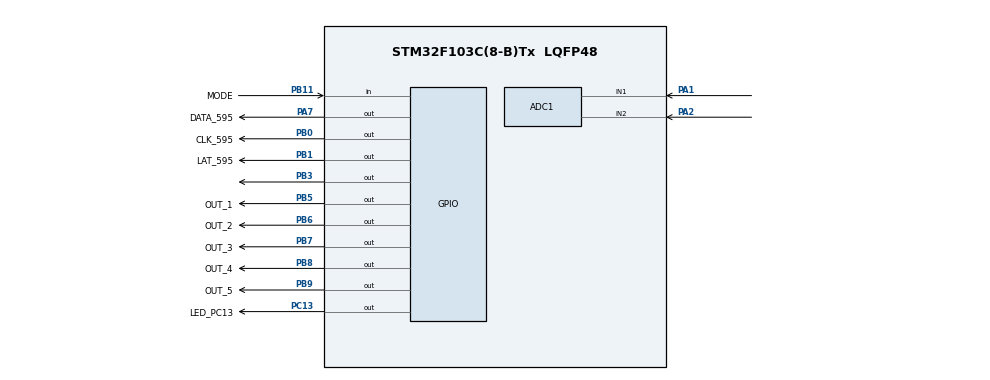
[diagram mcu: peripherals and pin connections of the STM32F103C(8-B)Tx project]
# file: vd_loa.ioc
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ADC1.Channel-0\#ChannelRegularConversion=ADC_CHANNEL_1
ADC1.Channel-2\#ChannelRegularConversion=ADC_CHANNEL_2
ADC1.ContinuousConvMode=DISABLE
ADC1.ExternalTrigConv=ADC_EXTERNALTRIGCONV_T3_TRGO
ADC1.NbrOfConversion=2
ADC1.NbrOfConversionFlag=1
ADC1.Rank-0\#ChannelRegularConversion=1
ADC1.Rank-2\#ChannelRegularConversion=2
ADC1.SamplingTime-0\#ChannelRegularConversion=ADC_SAMPLETIME_1CYCLE_5
ADC1.SamplingTime-2\#ChannelRegularConversion=ADC_SAMPLETIME_1CYCLE_5
ADC1.master=1
Dma.ADC1.0.Direction=DMA_PERIPH_TO_MEMORY
Dma.ADC1.0.Instance=DMA1_Channel1
Dma.ADC1.0.MemDataAlignment=DMA_MDATAALIGN_HALFWORD
Dma.ADC1.0.MemInc=DMA_MINC_ENABLE
Dma.ADC1.0.Mode=DMA_CIRCULAR
Dma.ADC1.0.PeriphDataAlignment=DMA_PDATAALIGN_HALFWORD
Dma.ADC1.0.PeriphInc=DMA_PINC_DISABLE
Dma.ADC1.0.Priority=DMA_PRIORITY_LOW
Dma.Request0=ADC1
Mcu.Family=STM32F1
Mcu.Name=STM32F103C(8-B)Tx
Mcu.Package=LQFP48
NVIC.DMA1_Channel1_IRQn=true\:0\:0\:false\:false\:true\:false\:true\:true
NVIC.PriorityGroup=NVIC_PRIORITYGROUP_4
NVIC.TIM2_IRQn=true\:2\:0\:true\:false\:true\:true\:true\:true
PA1.Signal=ADCx_IN1
PA13.Mode=Serial_Wire
PA13.Signal=SYS_JTMS-SWDIO
PA14.Mode=Serial_Wire
PA14.Signal=SYS_JTCK-SWCLK
PA2.Signal=ADCx_IN2
PA7.GPIO_Label=DATA_595
PA7.GPIO_PuPd=GPIO_PULLDOWN
PA7.Signal=GPIO_Output
PB0.GPIO_Label=CLK_595
PB0.GPIO_PuPd=GPIO_PULLDOWN
PB0.Signal=GPIO_Output
PB1.GPIO_Label=LAT_595
PB1.GPIO_PuPd=GPIO_PULLDOWN
PB1.Signal=GPIO_Output
PB11.GPIO_Label=MODE
PB11.GPIO_PuPd=GPIO_PULLDOWN
PB11.Signal=GPIO_Input
PB3.Signal=GPIO_Output
PB5.GPIO_Label=OUT_1
PB5.GPIO_PuPd=GPIO_PULLDOWN
PB5.Signal=GPIO_Output
PB6.GPIO_Label=OUT_2
PB6.GPIO_ModeDefaultOutputPP=GPIO_MODE_OUTPUT_PP
PB6.GPIO_PuPd=GPIO_PULLDOWN
PB6.Signal=GPIO_Output
PB7.GPIO_Label=OUT_3
PB7.GPIO_PuPd=GPIO_PULLDOWN
PB7.Signal=GPIO_Output
PB8.GPIO_Label=OUT_4
PB8.GPIO_PuPd=GPIO_PULLDOWN
PB8.Signal=GPIO_Output
PB9.GPIO_Label=OUT_5
PB9.GPIO_PuPd=GPIO_PULLDOWN
PB9.Signal=GPIO_Output
PC13-TAMPER-RTC.GPIO_Label=LED_PC13
PC13-TAMPER-RTC.GPIO_PuPd=GPIO_PULLUP
PC13-TAMPER-RTC.Signal=GPIO_Output
PD0-OSC_IN.Mode=HSE-External-Oscillator
PD0-OSC_IN.Signal=RCC_OSC_IN
PD1-OSC_OUT.Mode=HSE-External-Oscillator
PD1-OSC_OUT.Signal=RCC_OSC_OUT
ProjectManager.HeapSize=0x200
ProjectManager.StackSize=0x400
ProjectManager.TargetToolchain=STM32CubeIDE
RCC.APB1Freq_Value=8000000
RCC.APB2Freq_Value=8000000
SH.ADCx_IN1.0=ADC1_IN1,IN1
SH.ADCx_IN2.0=ADC1_IN2,IN2
TIM2.Period=1000-1
TIM2.Prescaler=8000-1
TIM3.Channel-PWM\ Generation1\ No\ Output=TIM_CHANNEL_1
TIM3.Period=100-1
TIM3.Prescaler=8-1
TIM3.TIM_MasterOutputTrigger=TIM_TRGO_UPDATE
VP_TIM2_VS_ClockSourceINT.Mode=Internal
VP_TIM3_VS_ClockSourceINT.Mode=Internal
VP_TIM3_VS_no_output1.Mode=PWM Generation1 No Output
board=custom

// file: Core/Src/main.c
/* USER CODE BEGIN Header */
/**
  ******************************************************************************
  * @file           : main.c
  * @brief          : Main program body
  ******************************************************************************
  * @attention
  *
  * Copyright (c) 2024 STMicroelectronics.
  * All rights reserved.
  *
  * This software is licensed under terms that can be found in the LICENSE file
  * in the root directory of this software component.
  * If no LICENSE file comes with this software, it is provided AS-IS.
  *
  ******************************************************************************
  */
/* USER CODE END Header */
#include "main.h"

/* USER CODE BEGIN Includes */
#include <handler.h>
/* USER CODE END Includes */

ADC_HandleTypeDef hadc1;
DMA_HandleTypeDef hdma_adc1;

TIM_HandleTypeDef htim2;
TIM_HandleTypeDef htim3;

/* USER CODE BEGIN PV */

uint8_t counter_timer2=0;

uint8_t flat_ADC = 0;
/* USER CODE END PV */

void SystemClock_Config(void);
static void MX_GPIO_Init(void);
static void MX_DMA_Init(void);
static void MX_ADC1_Init(void);
static void MX_TIM2_Init(void);
static void MX_TIM3_Init(void);

/* USER CODE BEGIN 0 */
void HAL_TIM_PeriodElapsedCallback(TIM_HandleTypeDef *htim)
{
	if(htim->Instance == TIM2)//(8M / 8000 ) => T = 1ms;  ARR = 1000 => 1000 cnt = 1s
	{
		counter_timer2++;
	}
}

void HAL_ADC_ConvCpltCallback(ADC_HandleTypeDef* hadc)
{
  flat_ADC = 1;
}
/* USER CODE END 0 */

int main(void)
{

  /* MCU Configuration--------------------------------------------------------*/

  /* Reset of all peripherals, Initializes the Flash interface and the Systick. */
  HAL_Init();

  /* Configure the system clock */
  SystemClock_Config();

  /* Initialize all configured peripherals */
  MX_GPIO_Init();
  MX_DMA_Init();
  MX_ADC1_Init();
  MX_TIM2_Init();
  MX_TIM3_Init();
  /* USER CODE BEGIN 2 */
  /*ADC INIT*/
  if(HAL_ADCEx_Calibration_Start(&hadc1) != HAL_OK)
	  Error_Handler();
  // start pwm generation
  if(HAL_TIM_PWM_Start(&htim3, TIM_CHANNEL_1) != HAL_OK)
	  Error_Handler();
  // Start DMA
  if(HAL_ADC_Start_DMA(&hadc1, (uint32_t*)value_ADC1, 2) != HAL_OK)
	  Error_Handler();
  /*TIMEBASE INIT*/
  if(HAL_TIM_Base_Start_IT(&htim2) != HAL_OK)
	  Error_Handler();
  /*USER INIT*/
  L7D_74HC595_Init(DATA_595_GPIO_Port, CLK_595_GPIO_Port, LAT_595_GPIO_Port, DATA_595_Pin, CLK_595_Pin, LAT_595_Pin);
  init_handler(&hadc1, &htim2);

  HAL_GPIO_WritePin(GPIOB, GPIO_PIN_5 | GPIO_PIN_6 | GPIO_PIN_7 | GPIO_PIN_8 | GPIO_PIN_9 , GPIO_PIN_RESET);
  /* USER CODE END 2 */

  /* Infinite loop */
  /* USER CODE BEGIN WHILE */
  while (1)
  {
	  /*Doc ADC 10KHz*/
	  if(flat_ADC == 1)
	  {
	    flat_ADC = 0;
	    HAL_GPIO_TogglePin(GPIOB, GPIO_PIN_3);
	    if(Handler_Led() != HANDLER_OKE)
	    	Error_Handler();
	  }

	  /**/
	  if(counter_timer2 >= count_mode2)	// 1s
	  {
		  counter_timer2 = 0;

		  HAL_GPIO_TogglePin(GPIOC, GPIO_PIN_13);

		  if(mode_status == MODE_2)
			  HAL_GPIO_TogglePin(GPIOB, (GPIO_PIN_5 | GPIO_PIN_6 | GPIO_PIN_7 | GPIO_PIN_8 | GPIO_PIN_9));
	  }
    /* USER CODE END WHILE */

  }
}

void SystemClock_Config(void)
{
  RCC_OscInitTypeDef RCC_OscInitStruct = {0};
  RCC_ClkInitTypeDef RCC_ClkInitStruct = {0};
  RCC_PeriphCLKInitTypeDef PeriphClkInit = {0};

  /** Initializes the RCC Oscillators according to the specified parameters
  * in the RCC_OscInitTypeDef structure.
  */
  RCC_OscInitStruct.OscillatorType = RCC_OSCILLATORTYPE_HSI;
  RCC_OscInitStruct.HSIState = RCC_HSI_ON;
  RCC_OscInitStruct.HSICalibrationValue = RCC_HSICALIBRATION_DEFAULT;
  RCC_OscInitStruct.PLL.PLLState = RCC_PLL_NONE;
  if (HAL_RCC_OscConfig(&RCC_OscInitStruct) != HAL_OK)
  {
    Error_Handler();
  }

  /** Initializes the CPU, AHB and APB buses clocks
  */
  RCC_ClkInitStruct.ClockType = RCC_CLOCKTYPE_HCLK|RCC_CLOCKTYPE_SYSCLK
                              |RCC_CLOCKTYPE_PCLK1|RCC_CLOCKTYPE_PCLK2;
  RCC_ClkInitStruct.SYSCLKSource = RCC_SYSCLKSOURCE_HSI;
  RCC_ClkInitStruct.AHBCLKDivider = RCC_SYSCLK_DIV1;
  RCC_ClkInitStruct.APB1CLKDivider = RCC_HCLK_DIV1;
  RCC_ClkInitStruct.APB2CLKDivider = RCC_HCLK_DIV1;

  if (HAL_RCC_ClockConfig(&RCC_ClkInitStruct, FLASH_LATENCY_0) != HAL_OK)
  {
    Error_Handler();
  }
  PeriphClkInit.PeriphClockSelection = RCC_PERIPHCLK_ADC;
  PeriphClkInit.AdcClockSelection = RCC_ADCPCLK2_DIV2;
  if (HAL_RCCEx_PeriphCLKConfig(&PeriphClkInit) != HAL_OK)
  {
    Error_Handler();
  }
}

static void MX_ADC1_Init(void)
{

  ADC_ChannelConfTypeDef sConfig = {0};

  /** Common config
  */
  hadc1.Instance = ADC1;
  hadc1.Init.ScanConvMode = ADC_SCAN_ENABLE;
  hadc1.Init.ContinuousConvMode = DISABLE;
  hadc1.Init.DiscontinuousConvMode = DISABLE;
  hadc1.Init.ExternalTrigConv = ADC_EXTERNALTRIGCONV_T3_TRGO;
  hadc1.Init.DataAlign = ADC_DATAALIGN_RIGHT;
  hadc1.Init.NbrOfConversion = 2;
  if (HAL_ADC_Init(&hadc1) != HAL_OK)
  {
    Error_Handler();
  }

  /** Configure Regular Channel
  */
  sConfig.Channel = ADC_CHANNEL_1;
  sConfig.Rank = ADC_REGULAR_RANK_1;
  sConfig.SamplingTime = ADC_SAMPLETIME_1CYCLE_5;
  if (HAL_ADC_ConfigChannel(&hadc1, &sConfig) != HAL_OK)
  {
    Error_Handler();
  }

  /** Configure Regular Channel
  */
  sConfig.Channel = ADC_CHANNEL_2;
  sConfig.Rank = ADC_REGULAR_RANK_2;
  if (HAL_ADC_ConfigChannel(&hadc1, &sConfig) != HAL_OK)
  {
    Error_Handler();
  }

}

static void MX_TIM2_Init(void)
{

  TIM_ClockConfigTypeDef sClockSourceConfig = {0};
  TIM_MasterConfigTypeDef sMasterConfig = {0};

  htim2.Instance = TIM2;
  htim2.Init.Prescaler = 8000-1;
  htim2.Init.CounterMode = TIM_COUNTERMODE_UP;
  htim2.Init.Period = 1000-1;
  htim2.Init.ClockDivision = TIM_CLOCKDIVISION_DIV1;
  htim2.Init.AutoReloadPreload = TIM_AUTORELOAD_PRELOAD_DISABLE;
  if (HAL_TIM_Base_Init(&htim2) != HAL_OK)
  {
    Error_Handler();
  }
  sClockSourceConfig.ClockSource = TIM_CLOCKSOURCE_INTERNAL;
  if (HAL_TIM_ConfigClockSource(&htim2, &sClockSourceConfig) != HAL_OK)
  {
    Error_Handler();
  }
  sMasterConfig.MasterOutputTrigger = TIM_TRGO_RESET;
  sMasterConfig.MasterSlaveMode = TIM_MASTERSLAVEMODE_DISABLE;
  if (HAL_TIMEx_MasterConfigSynchronization(&htim2, &sMasterConfig) != HAL_OK)
  {
    Error_Handler();
  }

}

static void MX_TIM3_Init(void)
{

  TIM_ClockConfigTypeDef sClockSourceConfig = {0};
  TIM_MasterConfigTypeDef sMasterConfig = {0};
  TIM_OC_InitTypeDef sConfigOC = {0};

  htim3.Instance = TIM3;
  htim3.Init.Prescaler = 8-1;
  htim3.Init.CounterMode = TIM_COUNTERMODE_UP;
  htim3.Init.Period = 100-1;
  htim3.Init.ClockDivision = TIM_CLOCKDIVISION_DIV1;
  htim3.Init.AutoReloadPreload = TIM_AUTORELOAD_PRELOAD_DISABLE;
  if (HAL_TIM_Base_Init(&htim3) != HAL_OK)
  {
    Error_Handler();
  }
  sClockSourceConfig.ClockSource = TIM_CLOCKSOURCE_INTERNAL;
  if (HAL_TIM_ConfigClockSource(&htim3, &sClockSourceConfig) != HAL_OK)
  {
    Error_Handler();
  }
  if (HAL_TIM_PWM_Init(&htim3) != HAL_OK)
  {
    Error_Handler();
  }
  sMasterConfig.MasterOutputTrigger = TIM_TRGO_UPDATE;
  sMasterConfig.MasterSlaveMode = TIM_MASTERSLAVEMODE_DISABLE;
  if (HAL_TIMEx_MasterConfigSynchronization(&htim3, &sMasterConfig) != HAL_OK)
  {
    Error_Handler();
  }
  sConfigOC.OCMode = TIM_OCMODE_PWM1;
  sConfigOC.Pulse = 0;
  sConfigOC.OCPolarity = TIM_OCPOLARITY_HIGH;
  sConfigOC.OCFastMode = TIM_OCFAST_DISABLE;
  if (HAL_TIM_PWM_ConfigChannel(&htim3, &sConfigOC, TIM_CHANNEL_1) != HAL_OK)
  {
    Error_Handler();
  }

}

static void MX_DMA_Init(void)
{

  /* DMA controller clock enable */
  __HAL_RCC_DMA1_CLK_ENABLE();

  /* DMA interrupt init */
  /* DMA1_Channel1_IRQn interrupt configuration */
  HAL_NVIC_SetPriority(DMA1_Channel1_IRQn, 0, 0);
  HAL_NVIC_EnableIRQ(DMA1_Channel1_IRQn);

}

static void MX_GPIO_Init(void)
{
  GPIO_InitTypeDef GPIO_InitStruct = {0};

  /* GPIO Ports Clock Enable */
  __HAL_RCC_GPIOC_CLK_ENABLE();
  __HAL_RCC_GPIOD_CLK_ENABLE();
  __HAL_RCC_GPIOA_CLK_ENABLE();
  __HAL_RCC_GPIOB_CLK_ENABLE();

  /*Configure GPIO pin Output Level */
  HAL_GPIO_WritePin(LED_PC13_GPIO_Port, LED_PC13_Pin, GPIO_PIN_RESET);

  /*Configure GPIO pin Output Level */
  HAL_GPIO_WritePin(DATA_595_GPIO_Port, DATA_595_Pin, GPIO_PIN_RESET);

  /*Configure GPIO pin Output Level */
  HAL_GPIO_WritePin(GPIOB, CLK_595_Pin|LAT_595_Pin|GPIO_PIN_3|OUT_1_Pin
                          |OUT_2_Pin|OUT_3_Pin|OUT_4_Pin|OUT_5_Pin, GPIO_PIN_RESET);

  /*Configure GPIO pin : LED_PC13_Pin */
  GPIO_InitStruct.Pin = LED_PC13_Pin;
  GPIO_InitStruct.Mode = GPIO_MODE_OUTPUT_PP;
  GPIO_InitStruct.Pull = GPIO_PULLUP;
  GPIO_InitStruct.Speed = GPIO_SPEED_FREQ_LOW;
  HAL_GPIO_Init(LED_PC13_GPIO_Port, &GPIO_InitStruct);

  /*Configure GPIO pin : DATA_595_Pin */
  GPIO_InitStruct.Pin = DATA_595_Pin;
  GPIO_InitStruct.Mode = GPIO_MODE_OUTPUT_PP;
  GPIO_InitStruct.Pull = GPIO_PULLDOWN;
  GPIO_InitStruct.Speed = GPIO_SPEED_FREQ_LOW;
  HAL_GPIO_Init(DATA_595_GPIO_Port, &GPIO_InitStruct);

  /*Configure GPIO pins : CLK_595_Pin LAT_595_Pin OUT_1_Pin OUT_2_Pin
                           OUT_3_Pin OUT_4_Pin OUT_5_Pin */
  GPIO_InitStruct.Pin = CLK_595_Pin|LAT_595_Pin|OUT_1_Pin|OUT_2_Pin
                          |OUT_3_Pin|OUT_4_Pin|OUT_5_Pin;
  GPIO_InitStruct.Mode = GPIO_MODE_OUTPUT_PP;
  GPIO_InitStruct.Pull = GPIO_PULLDOWN;
  GPIO_InitStruct.Speed = GPIO_SPEED_FREQ_LOW;
  HAL_GPIO_Init(GPIOB, &GPIO_InitStruct);

  /*Configure GPIO pin : MODE_Pin */
  GPIO_InitStruct.Pin = MODE_Pin;
  GPIO_InitStruct.Mode = GPIO_MODE_INPUT;
  GPIO_InitStruct.Pull = GPIO_PULLDOWN;
  HAL_GPIO_Init(MODE_GPIO_Port, &GPIO_InitStruct);

  /*Configure GPIO pin : PB3 */
  GPIO_InitStruct.Pin = GPIO_PIN_3;
  GPIO_InitStruct.Mode = GPIO_MODE_OUTPUT_PP;
  GPIO_InitStruct.Pull = GPIO_NOPULL;
  GPIO_InitStruct.Speed = GPIO_SPEED_FREQ_LOW;
  HAL_GPIO_Init(GPIOB, &GPIO_InitStruct);

}

void Error_Handler(void)
{
  __disable_irq();
  while (1)
  {
  }
}
